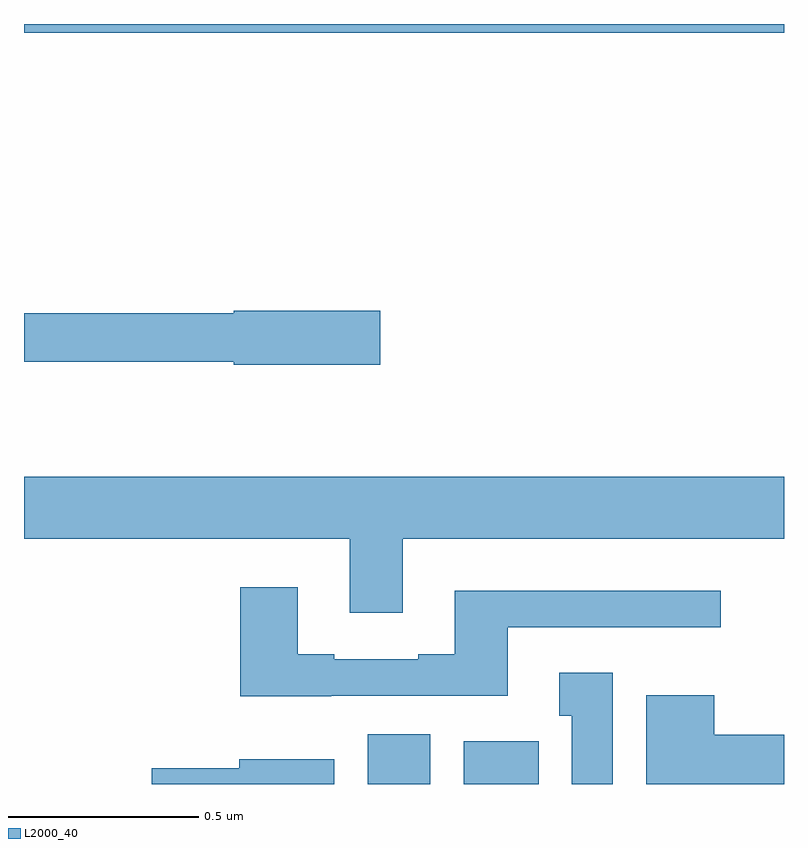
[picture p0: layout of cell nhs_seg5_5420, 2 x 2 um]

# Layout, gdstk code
import gdstk
lib = gdstk.Library(unit=1e-6, precision=1e-09)
def R(c, l, rs):  # rectangles x0, y0, x1, y1
    for r in rs: c.add(gdstk.rectangle(r[:2], r[2:], *l))
def P(c, l, *ps):  # polygons
    for p in ps: c.add(gdstk.Polygon(p, *l))
L2000_40 = (2000, 40)

nhs_seg5_5420 = lib.new_cell('nhs_seg5_5420')
R(nhs_seg5_5420, L2000_40, [(183.905,838.799,184.069,838.93), (184.157,838.799,184.354,838.912), (183,840.776,185,840.799)])
P(nhs_seg5_5420, L2000_40, [(183.937,840.044),(183.552,840.044),(183.552,840.038),(183,840.038),(183,839.91),(183.552,839.91),(183.552,839.902),(183.937,839.902)],
  [(183.997,839.444),(185,839.444),(185,839.608),(183,839.608),(183,839.444),(183.857,839.444),(183.857,839.25),(183.997,839.25)],
  [(183.809,839.031),(184.273,839.031),(184.273,839.211),(184.834,839.211),(184.834,839.308),(184.133,839.308),(184.133,839.14),(184.037,839.14),(184.037,839.127),(183.817,839.127),(183.817,839.14),(183.721,839.14),(183.721,839.317),(183.569,839.317),(183.569,839.03),(183.809,839.03)],
  [(184.549,839.092),(184.409,839.092),(184.409,838.979),(184.442,838.979),(184.442,838.799),(184.549,838.799)],
  [(185,838.928),(184.816,838.928),(184.816,839.032),(184.637,839.032),(184.637,838.799),(185,838.799)],
  [(183.817,838.864),(183.566,838.864),(183.566,838.841),(183.336,838.841),(183.336,838.799),(183.817,838.799)])

lib.write_gds('nhs_seg5_5420.gds')
